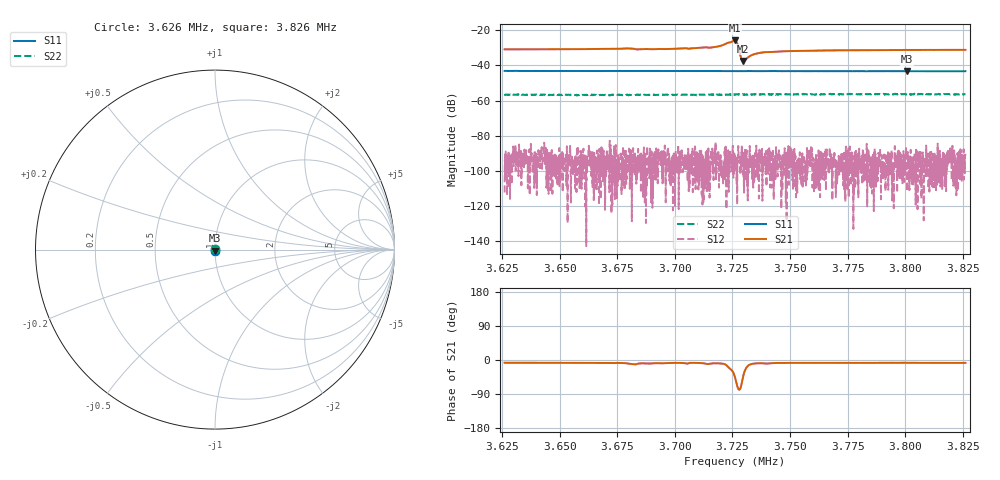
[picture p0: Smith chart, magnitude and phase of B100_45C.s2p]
# Hz S dB R 50.000
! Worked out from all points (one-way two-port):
!   6401 points, 3.626 MHz to 3.826 MHz, reference 50 ohm
!   highest |S21| = -25.76 dB at 3.726 MHz (marker M1); lowest = -37.4 dB at 3.73 MHz (marker M2)
!   lowest |S11| = -43.3 dB at 3.801 MHz (marker M3), VSWR 1.01, Z = 50 - j0.68 ohm
!   |S11| at or under -10 dB: start of sweep to end of sweep
!   |S22| runs from -57.2 to -56.1 dB; largest |S21 - S12| = 0.051
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3626094  -43.12 -92.3  -30.83 -7.1  -112.43 -100.2  -56.34 50.4
3659438  -43.18 -92.3  -30.70 -7.5  -100.31 135.1  -56.78 51.5
3679438  -43.16 -92.3  -30.30 -9.1  -97.19 64.4  -56.63 52.7
3683969  -43.18 -92.2  -30.87 -9.7  -91.50 129.8  -56.72 52.9
3692782  -43.18 -92.3  -30.64 -8.3  -90.07 55.9  -56.75 53.0
3715782  -43.18 -92.3  -29.79 -9.1  -89.12 74.2  -56.57 54.0
3719688  -43.22 -92.5  -28.89 -9.1  -91.86 -42.3  -56.76 53.4
3725313  -43.18 -92.4  -26.09 -32.7  -96.00 -142.8  -56.68 53.6
3726094  -43.19 -92.4  -25.76 -45.7  -91.59 18.9  -56.62 54.0
3726532  -43.21 -92.2  -26.11 -56.0  -97.24 89.1  -56.54 53.7
3726969  -43.23 -92.4  -27.20 -66.5  -102.14 -154.5  -56.58 53.8
3728719  -43.22 -92.3  -35.65 -69.3  -97.26 148.7  -56.61 54.1
3729156  -43.25 -92.2  -37.02 -56.7  -90.27 15.0  -56.65 53.3
3729594  -43.23 -92.4  -37.44 -43.8  -94.58 -91.5  -56.57 53.9
3730344  -43.22 -92.3  -36.92 -28.5  -93.85 52.3  -56.85 54.1
3732406  -43.23 -92.2  -34.81 -12.4  -89.07 -0.0  -56.44 53.2
3733875  -43.24 -92.4  -33.84 -9.8  -107.71 -14.0  -56.61 52.4
3738000  -43.24 -92.0  -32.58 -8.7  -117.10 169.8  -56.49 53.1
3759438  -43.28 -92.4  -31.56 -7.5  -89.16 -1.4  -56.52 53.4
3792782  -43.28 -92.7  -31.28 -7.2  -97.99 35.9  -56.40 52.7
3800625  -43.34 -92.6  -31.16 -7.5  -89.85 40.9  -56.40 53.5
3826094  -43.29 -92.6  -31.13 -7.7  -90.38 64.4  -56.55 52.8
